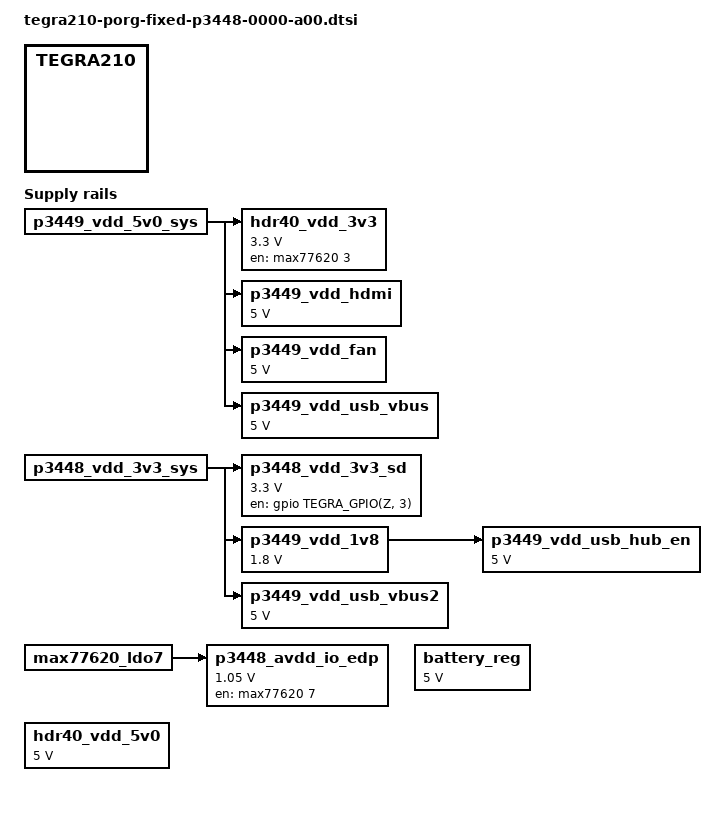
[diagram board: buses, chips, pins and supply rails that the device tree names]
/*
 * Copyright (c) 2018, NVIDIA CORPORATION.  All rights reserved.
 *
 * This program is free software; you can redistribute it and/or modify
 * it under the terms of the GNU General Public License as published by
 * the Free Software Foundation; either version 2 of the License, or
 * (at your option) any later version.
 *
 * This program is distributed in the hope that it will be useful, but WITHOUT
 * ANY WARRANTY; without even the implied warranty of MERCHANTABILITY or
 * FITNESS FOR A PARTICULAR PURPOSE.  See the GNU General Public License for
 * more details.
 *
 * You should have received a copy of the GNU General Public License along
 * with this program; if not, write to the Free Software Foundation, Inc.,
 * 51 Franklin Street, Fifth Floor, Boston, MA  02110-1301, USA.
 */

#include <dt-bindings/gpio/tegra-gpio.h>

/ {
	regulators {
		compatible = "simple-bus";
		device_type = "fixed-regulators";
		#address-cells = <1>;
		#size-cells = <0>;

		battery_reg: regulator@0 {
			compatible = "regulator-fixed";
			reg = <0>;
			regulator-name = "vdd-ac-bat";
			regulator-min-microvolt = <5000000>;
			regulator-max-microvolt = <5000000>;
			regulator-always-on;
		};

		hdr40_vdd_5v0: p3449_vdd_5v0_sys: regulator@1 { /* DC 5V INPUT */
			compatible = "regulator-fixed";
			reg = <1>;
			regulator-name = "vdd-5v0-sys";
			regulator-min-microvolt = <5000000>;
			regulator-max-microvolt = <5000000>;
			regulator-enable-ramp-delay = <160>;
			regulator-disable-ramp-delay = <10000>;
		};

		hdr40_vdd_3v3: p3448_vdd_3v3_sys: regulator@2 {
			compatible = "regulator-fixed-sync";
			reg = <2>;
			regulator-name = "vdd-3v3-sys";
			regulator-min-microvolt = <3300000>;
			regulator-max-microvolt = <3300000>;
			gpio = <&max77620 3 0>;
			enable-active-high;
			vin-supply = <&p3449_vdd_5v0_sys>;
			regulator-enable-ramp-delay = <240>;
			regulator-disable-ramp-delay = <11340>;
		};

		p3448_vdd_3v3_sd: regulator@3 {
			compatible = "regulator-fixed-sync";
			reg = <3>;
			regulator-name = "vdd-3v3-sd";
			regulator-min-microvolt = <3300000>;
			regulator-max-microvolt = <3300000>;
			gpio = <&gpio TEGRA_GPIO(Z, 3) 0>;
			enable-active-high;
			regulator-boot-on;
			vin-supply = <&p3448_vdd_3v3_sys>;
		};

		p3448_avdd_io_edp: regulator@4 {
			compatible = "regulator-fixed-sync";
			reg = <4>;
			regulator-name = "avdd-io-edp-1v05";
			regulator-min-microvolt = <1050000>;
			regulator-max-microvolt = <1050000>;
			gpio = <&max77620 7 0>;
			enable-active-high;
			vin-supply = <&max77620_ldo7>;
		};

		p3449_vdd_hdmi: regulator@5 {
			compatible = "regulator-fixed";
			reg = <5>;
			regulator-name = "vdd-5v0-hdmi";
			regulator-min-microvolt = <5000000>;
			regulator-max-microvolt = <5000000>;
			vin-supply = <&p3449_vdd_5v0_sys>;
		};

		p3449_vdd_1v8: regulator@6 {
			compatible = "regulator-fixed";
			reg = <6>;
			regulator-name = "vdd-1v8-sys";
			regulator-min-microvolt = <1800000>;
			regulator-max-microvolt = <1800000>;
			vin-supply = <&p3448_vdd_3v3_sys>;
		};

		p3449_vdd_fan: regulator@7 {
			compatible = "regulator-fixed";
			reg = <7>;
			regulator-name = "vdd-fan";
			regulator-min-microvolt = <5000000>;
			regulator-max-microvolt = <5000000>;
			vin-supply = <&p3449_vdd_5v0_sys>;
		};

		p3449_vdd_usb_vbus: regulator@8 {
			compatible = "regulator-fixed";
			reg = <8>;
			regulator-name = "vdd-usb-vbus";
			regulator-min-microvolt = <5000000>;
			regulator-max-microvolt = <5000000>;
			vin-supply = <&p3449_vdd_5v0_sys>;
		};

		p3449_vdd_usb_hub_en: regulator@9 {
			compatible = "regulator-fixed-sync";
			reg = <9>;
			regulator-name = "vdd-usb-hub-en";
			regulator-min-microvolt = <5000000>;
			regulator-max-microvolt = <5000000>;
			vin-supply = <&p3449_vdd_1v8>;
		};

		p3449_vdd_usb_vbus2: regulator@10 {
			compatible = "regulator-fixed";
			reg = <10>;
			regulator-name = "vdd-usb-vbus2";
			regulator-min-microvolt = <5000000>;
			regulator-max-microvolt = <5000000>;
			vin-supply = <&p3448_vdd_3v3_sys>;
		};

	};
};
